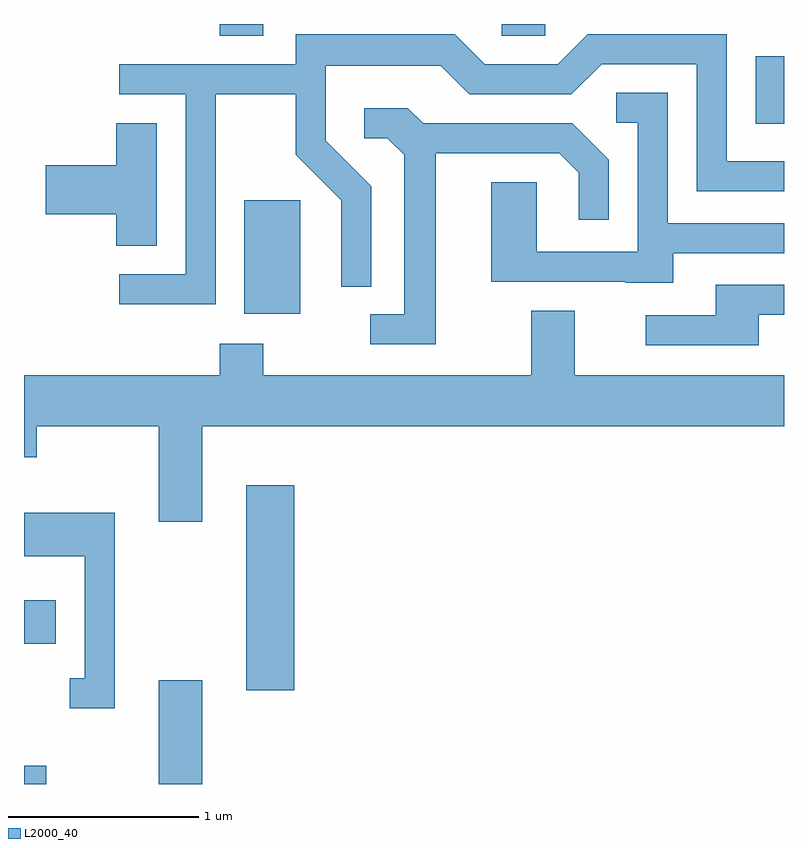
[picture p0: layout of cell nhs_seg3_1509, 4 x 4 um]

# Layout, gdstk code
import gdstk
lib = gdstk.Library(unit=1e-6, precision=1e-09)
def R(c, l, rs):  # rectangles x0, y0, x1, y1
    for r in rs: c.add(gdstk.rectangle(r[:2], r[2:], *l))
def P(c, l, *ps):  # polygons
    for p in ps: c.add(gdstk.Polygon(p, *l))
L2000_40 = (2000, 40)

nhs_seg3_1509 = lib.new_cell('nhs_seg3_1509')
R(nhs_seg3_1509, L2000_40, [(229.611,1141.892,229.729,1141.989), (230.321,1141.892,230.549,1142.439), (230.781,1142.386,231.034,1143.464), (229.611,1142.631,229.779,1142.859), (230.771,1144.366,231.064,1144.964), (233.461,1145.366,233.611,1145.723), (230.641,1145.831,230.869,1145.892), (232.126,1145.831,232.354,1145.892)])
P(nhs_seg3_1509, L2000_40, [(230.619,1145.521),(231.041,1145.521),(231.041,1145.204),(231.281,1144.964),(231.281,1144.508),(231.439,1144.508),(231.439,1145.037),(231.199,1145.277),(231.199,1145.671),(231.804,1145.671),(231.954,1145.521),(232.492,1145.521),(232.652,1145.681),(233.151,1145.681),(233.151,1145.011),(233.611,1145.011),(233.611,1145.169),(233.309,1145.169),(233.309,1145.839),(232.579,1145.839),(232.419,1145.679),(232.037,1145.679),(231.877,1145.839),(231.041,1145.839),(231.041,1145.679),(230.113,1145.679),(230.113,1145.521),(230.461,1145.521),(230.461,1144.574),(230.113,1144.574),(230.113,1144.416),(230.619,1144.416)],
  [(233.029,1144.686),(233.611,1144.686),(233.611,1144.844),(232.999,1144.844),(232.999,1145.529),(232.728,1145.529),(232.728,1145.371),(232.841,1145.371),(232.841,1144.694),(232.309,1144.694),(232.309,1145.059),(232.071,1145.059),(232.071,1144.536),(232.775,1144.536),(232.775,1144.531),(233.029,1144.531)],
  [(231.779,1145.211),(232.429,1145.211),(232.531,1145.109),(232.531,1144.863),(232.689,1144.863),(232.689,1145.177),(232.497,1145.369),(231.712,1145.369),(231.632,1145.449),(231.403,1145.449),(231.403,1145.291),(231.524,1145.291),(231.611,1145.204),(231.611,1144.364),(231.433,1144.364),(231.433,1144.206),(231.779,1144.206)],
  [(230.309,1145.369),(230.096,1145.369),(230.096,1145.149),(229.726,1145.149),(229.726,1144.891),(230.096,1144.891),(230.096,1144.726),(230.309,1144.726)],
  [(233.479,1144.361),(233.611,1144.361),(233.611,1144.519),(233.251,1144.519),(233.251,1144.359),(232.883,1144.359),(232.883,1144.201),(233.479,1144.201)],
  [(230.549,1143.776),(233.611,1143.776),(233.611,1144.044),(232.509,1144.044),(232.509,1144.384),(232.281,1144.384),(232.281,1144.044),(230.869,1144.044),(230.869,1144.209),(230.641,1144.209),(230.641,1144.044),(229.611,1144.044),(229.611,1143.611),(229.679,1143.611),(229.679,1143.776),(230.321,1143.776),(230.321,1143.271),(230.549,1143.271)],
  [(230.089,1143.319),(229.611,1143.319),(229.611,1143.091),(229.931,1143.091),(229.931,1142.449),(229.853,1142.449),(229.853,1142.291),(230.089,1142.291)])

lib.write_gds('nhs_seg3_1509.gds')
